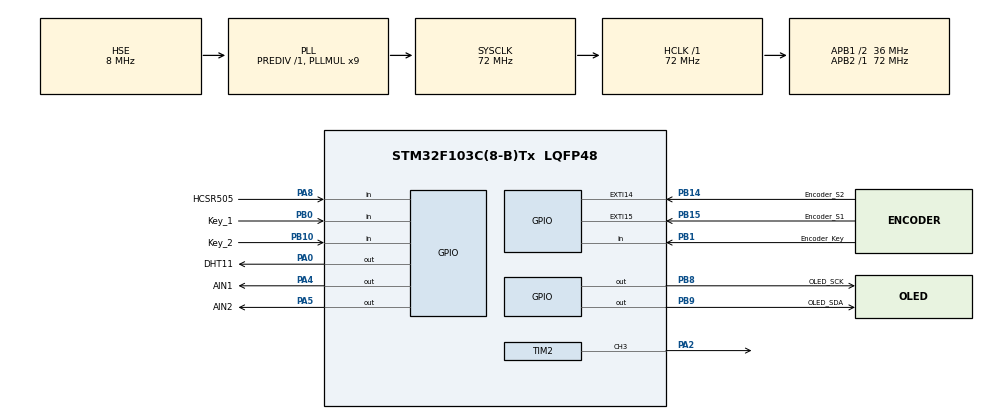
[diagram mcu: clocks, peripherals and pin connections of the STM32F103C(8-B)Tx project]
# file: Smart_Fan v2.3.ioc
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Mcu.Family=STM32F1
Mcu.Name=STM32F103C(8-B)Tx
Mcu.Package=LQFP48
NVIC.EXTI15_10_IRQn=true\:0\:0\:false\:false\:true\:true\:true\:true
NVIC.PriorityGroup=NVIC_PRIORITYGROUP_4
NVIC.TIM3_IRQn=true\:0\:0\:false\:false\:true\:true\:true\:true
PA0-WKUP.GPIO_Label=DHT11
PA0-WKUP.GPIO_Speed=GPIO_SPEED_FREQ_HIGH
PA0-WKUP.Signal=GPIO_Output
PA13.Mode=Serial_Wire
PA13.Signal=SYS_JTMS-SWDIO
PA14.Mode=Serial_Wire
PA14.Signal=SYS_JTCK-SWCLK
PA2.Signal=S_TIM2_CH3
PA4.GPIO_Label=AIN1
PA4.GPIO_Speed=GPIO_SPEED_FREQ_HIGH
PA4.Signal=GPIO_Output
PA5.GPIO_Label=AIN2
PA5.GPIO_Speed=GPIO_SPEED_FREQ_HIGH
PA5.Signal=GPIO_Output
PA8.GPIO_Label=HCSR505
PA8.GPIO_PuPd=GPIO_PULLDOWN
PA8.Signal=GPIO_Input
PB0.GPIO_Label=Key_1
PB0.GPIO_PuPd=GPIO_PULLUP
PB0.Signal=GPIO_Input
PB1.GPIO_Label=Encoder_Key
PB1.GPIO_PuPd=GPIO_PULLUP
PB1.Signal=GPIO_Input
PB10.GPIO_Label=Key_2
PB10.GPIO_PuPd=GPIO_PULLUP
PB10.Signal=GPIO_Input
PB14.GPIO_Label=Encoder_S2
PB14.GPIO_ModeDefaultEXTI=GPIO_MODE_IT_FALLING
PB14.GPIO_PuPd=GPIO_PULLUP
PB14.Signal=GPXTI14
PB15.GPIO_Label=Encoder_S1
PB15.GPIO_ModeDefaultEXTI=GPIO_MODE_IT_FALLING
PB15.GPIO_PuPd=GPIO_PULLUP
PB15.Signal=GPXTI15
PB8.GPIO_Label=OLED_SCK
PB8.GPIO_ModeDefaultOutputPP=GPIO_MODE_OUTPUT_OD
PB8.GPIO_PuPd=GPIO_NOPULL
PB8.GPIO_Speed=GPIO_SPEED_FREQ_HIGH
PB8.Signal=GPIO_Output
PB9.GPIO_Label=OLED_SDA
PB9.GPIO_ModeDefaultOutputPP=GPIO_MODE_OUTPUT_OD
PB9.GPIO_PuPd=GPIO_NOPULL
PB9.GPIO_Speed=GPIO_SPEED_FREQ_HIGH
PB9.Signal=GPIO_Output
PD0-OSC_IN.Mode=HSE-External-Oscillator
PD0-OSC_IN.Signal=RCC_OSC_IN
PD1-OSC_OUT.Mode=HSE-External-Oscillator
PD1-OSC_OUT.Signal=RCC_OSC_OUT
ProjectManager.HeapSize=0x200
ProjectManager.StackSize=0x400
ProjectManager.TargetToolchain=STM32CubeIDE
RCC.AHBFreq_Value=72000000
RCC.APB1CLKDivider=RCC_HCLK_DIV2
RCC.APB1Freq_Value=36000000
RCC.APB1TimFreq_Value=72000000
RCC.APB2Freq_Value=72000000
RCC.APB2TimFreq_Value=72000000
RCC.HCLKFreq_Value=72000000
RCC.PLLMUL=RCC_PLL_MUL9
RCC.PLLSourceVirtual=RCC_PLLSOURCE_HSE
RCC.SYSCLKFreq_VALUE=72000000
RCC.SYSCLKSource=RCC_SYSCLKSOURCE_PLLCLK
RCC.USBFreq_Value=72000000
SH.S_TIM2_CH3.0=TIM2_CH3,PWM Generation3 CH3
TIM2.Channel-PWM\ Generation3\ CH3=TIM_CHANNEL_3
TIM2.Period=99
TIM2.Prescaler=35
TIM3.Period=10000-1
TIM3.Prescaler=7200-1
VP_TIM2_VS_ClockSourceINT.Mode=Internal
VP_TIM3_VS_ClockSourceINT.Mode=Internal
board=custom

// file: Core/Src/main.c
/* USER CODE BEGIN Header */
/**
  ******************************************************************************
  * @file           : main.c
  * @brief          : Main program body
  ******************************************************************************
  * @attention
  *
  * Copyright (c) 2024 STMicroelectronics.
  * All rights reserved.
  *
  * This software is licensed under terms that can be found in the LICENSE file
  * in the root directory of this software component.
  * If no LICENSE file comes with this software, it is provided AS-IS.
  *
  ******************************************************************************
  */
/* USER CODE END Header */
#include "main.h"
#include "tim.h"
#include "gpio.h"

/* USER CODE BEGIN Includes */
#include "OLED.h"
#include "stm32f1xx_it.h"
#include "DHT11.h"
#include "Key.h"
/* USER CODE END Includes */

/* USER CODE BEGIN PTD */
DHT11_Data_TypeDef DHT11_Data;	//DHT11模块必须的结构体
/* USER CODE END PTD */

/* USER CODE BEGIN PV */
uint8_t KeyNum = 0;					//按键键码
uint16_t Menu = 0;					//菜单ID
uint8_t Pointer = 0;				//菜单指针
uint8_t Pointer_Max = 9;			//菜单指针最大值，即菜单中内容的行数，默认为9
int8_t Speed = 0;					//电机转速，范围0~100
uint8_t Encoder_Locked_Flag = 1;	//旋转编码器旋钮是否上锁，默认上锁
uint8_t HCSR505_Flag = 1;			//人体感应是否打开，默认打开
uint8_t Hour,Min,Sec;				//定时模式需要的时间变量

/* USER CODE END PV */

void SystemClock_Config(void);
/* USER CODE BEGIN PFP */
uint8_t HCSR505_Get(void);			//人体感应模块函数，有人返回0，无人返回0
void Menu_Key(void);				//菜单按键控制函数
void Menu_Show(void);				//菜单内容显示函数
void Menu_Pointer(void);			//菜单指针选中处反色
void Motor_SetSpeed(int8_t Speed);	//设定电机转速函数

/* USER CODE END PFP */

int main(void)
{

  /* MCU Configuration--------------------------------------------------------*/

  /* Reset of all peripherals, Initializes the Flash interface and the Systick. */
  HAL_Init();

  /* Configure the system clock */
  SystemClock_Config();

  /* Initialize all configured peripherals */
  MX_GPIO_Init();
  MX_TIM2_Init();
  MX_TIM3_Init();
  /* USER CODE BEGIN 2 */
  OLED_Init();									//OLED模块初始化
  HAL_TIM_PWM_Start(&htim2, TIM_CHANNEL_3);		//开启控制电机的PWM

  /* USER CODE END 2 */

  /* Infinite loop */
  /* USER CODE BEGIN WHILE */
  while (1)
  {
	  Menu_Key();		//菜单按键控制函数
	  Menu_Show();		//菜单内容显示函数
	  Menu_Pointer();	//菜单指针选中处反色
	  OLED_Update();	//OLED显示内容更新

    /* USER CODE END WHILE */

  }
}

void SystemClock_Config(void)
{
  RCC_OscInitTypeDef RCC_OscInitStruct = {0};
  RCC_ClkInitTypeDef RCC_ClkInitStruct = {0};

  /** Initializes the RCC Oscillators according to the specified parameters
  * in the RCC_OscInitTypeDef structure.
  */
  RCC_OscInitStruct.OscillatorType = RCC_OSCILLATORTYPE_HSE;
  RCC_OscInitStruct.HSEState = RCC_HSE_ON;
  RCC_OscInitStruct.HSEPredivValue = RCC_HSE_PREDIV_DIV1;
  RCC_OscInitStruct.HSIState = RCC_HSI_ON;
  RCC_OscInitStruct.PLL.PLLState = RCC_PLL_ON;
  RCC_OscInitStruct.PLL.PLLSource = RCC_PLLSOURCE_HSE;
  RCC_OscInitStruct.PLL.PLLMUL = RCC_PLL_MUL9;
  if (HAL_RCC_OscConfig(&RCC_OscInitStruct) != HAL_OK)
  {
    Error_Handler();
  }

  /** Initializes the CPU, AHB and APB buses clocks
  */
  RCC_ClkInitStruct.ClockType = RCC_CLOCKTYPE_HCLK|RCC_CLOCKTYPE_SYSCLK
                              |RCC_CLOCKTYPE_PCLK1|RCC_CLOCKTYPE_PCLK2;
  RCC_ClkInitStruct.SYSCLKSource = RCC_SYSCLKSOURCE_PLLCLK;
  RCC_ClkInitStruct.AHBCLKDivider = RCC_SYSCLK_DIV1;
  RCC_ClkInitStruct.APB1CLKDivider = RCC_HCLK_DIV2;
  RCC_ClkInitStruct.APB2CLKDivider = RCC_HCLK_DIV1;

  if (HAL_RCC_ClockConfig(&RCC_ClkInitStruct, FLASH_LATENCY_2) != HAL_OK)
  {
    Error_Handler();
  }
}

/* USER CODE BEGIN 4 */

/**
  * @brief	人体感应模块
  * @retval 感应到人返回1，未感应到返回0
  */
uint8_t HCSR505_Get(void)
{
	return HAL_GPIO_ReadPin(HCSR505_GPIO_Port, HCSR505_Pin);	//直接返回引脚状态即可
}

/**
  * @brief	菜单按键控制函数
  * @retval None
  */
void Menu_Key(void)
{
	KeyNum = Key_GetNum();	//获取按键键码

	//菜单指针移动键按下
	if(KeyNum == 1)
	{
		Pointer++;
		if(Pointer > Pointer_Max)
			Pointer = 0;
	}

	//确认键按下
	else if(KeyNum == 2)
	{
		//指针不在第一行
		if(Pointer > 0)
		{
			//进入定时模式，默认速度50
			if(Menu == 0 && Pointer == 1)
			{
				Speed = 50;
				Menu = Menu*10 + Pointer;
				Pointer = 0;
			}

			//进入手动模式，默认速度50
			else if(Menu == 0 && Pointer == 2)
			{
				Speed = 50;
				Motor_SetSpeed(Speed);
				Menu = Menu*10 + Pointer;
				Pointer = 0;
			}

			//定时模式下调整参数
			else if(Menu == 1)
			{
				//确认参数键按下
				if(Pointer == 5)
				{
					HAL_TIM_Base_Start_IT(&htim3);	//启动定时
					Motor_SetSpeed(Speed);			//设定转速
					Menu = Menu*10 + Pointer;		//菜单跳转
					Pointer = 0;					//指针默认在第一行，即选中返回键
				}
			}

			//开关人体感应功能
			else if(Menu == 3 && Pointer == 3)
			{
				if(HCSR505_Flag == 1)
					HCSR505_Flag = 0;
				else
					HCSR505_Flag = 1;
			}

			//其余情况，菜单正常跳转
			else if(Menu < 1000)
			{
				Menu = Menu*10 + Pointer;
				Pointer = 0;
			}
		}

		//指针在第一行，即返回键按下
		else if(Pointer == 0)
		{
			Menu = Menu / 10;				//返回上一级菜单
			Speed = 0;						//转速归零
			Motor_SetSpeed(Speed);
			Encoder_Locked_Flag = 1;		//默认上锁旋钮
			Hour = 0;Min = 0;Sec = 0;		//定时参数归零
			HAL_TIM_Base_Stop_IT(&htim3);	//关闭定时模式的定时器
		}
	}

	//旋转编码器按键按下
	else if(KeyNum == 3)
	{
		//仅在手动模式下生效
		if(Menu == 2)
		{
			//反转即可
			if(Encoder_Locked_Flag == 0)
			{
				Encoder_Locked_Flag = 1;
			}
			else if(Encoder_Locked_Flag == 1)
			{
				Encoder_Locked_Flag = 0;
			}
		}
	}
}

/**
  * @brief	菜单内容显示函数
  * @retval None
  */
void Menu_Show(void)
{
	//主菜单内容
	if(Menu == 0)
	{
		Pointer_Max = 3;

		OLED_Clear();
		OLED_ShowChinese(39,0,"主菜单");

		OLED_ShowChinese(0,16,"定时模式");
		OLED_ShowChinese(0,32,"手动模式");
		OLED_ShowChinese(0,48,"自动模式");
	}

	//定时模式调整参数
	else if(Menu == 1)
	{
		Pointer_Max = 5;
		OLED_Clear();
		OLED_ShowChinese(0,0,"返回");

		//调整小时
		if(Pointer == 1)
		{
			Hour += Encoder_Get();
			if(Hour > 60)
				Hour = 0;
		}
		//调整分钟
		else if(Pointer == 2)
		{
			Min += Encoder_Get();
			if(Min > 60)
				Min = 0;
		}
		//调整秒
		else if(Pointer == 3)
		{
			Sec += Encoder_Get();
			if(Sec > 60)
				Sec = 0;
		}
		//调整转速
		else if(Pointer == 4)
		{
			Speed += Encoder_Get();
			if(Speed <= 0)
			{
				Speed = 0;
			}
			if(Speed >= 100)
			{
				Speed=100;
			}
		}

		//内容显示
		if(Pointer <= 3)
		{
			OLED_ShowChinese(0,16,"设置小时：");
			OLED_ShowNum(80, 16, Hour, 2, OLED_8X16);

			OLED_ShowChinese(0,32,"设置分钟：");
			OLED_ShowNum(80, 32, Min, 2, OLED_8X16);

			OLED_ShowChinese(0,48,"设置秒：");
			OLED_ShowNum(80, 48, Sec, 2, OLED_8X16);
		}
		else
		{
			OLED_ShowChinese(0,16,"设置转速：");
			OLED_ShowNum(80, 16, Speed, 3, OLED_8X16);

			OLED_ShowChinese(0,32,"确定");
		}
	}

	//定时模式倒计时界面
	else if(Menu == 15)
	{
		Pointer_Max = 0;
		OLED_Clear();
		OLED_ShowChinese(0,0,"返回");

		OLED_ShowChinese(0,16,"剩余时间：");
		OLED_Printf(0,32,OLED_8X16,"%02d:%02d:%02d",Hour,Min,Sec);

		OLED_ShowChinese(0, 48, "转速：");
		OLED_Printf(48, 48, OLED_8X16, "%d",Speed);
	}

	//手动模式
	else if(Menu == 2)
	{
		Pointer_Max = 0;
		OLED_Clear();
		OLED_ShowChinese(0,0,"返回");

		if(Encoder_Locked_Flag == 0)
		{
			Speed += Encoder_Get();
			if(Speed <= 0)
			{
				Speed = 0;
			}
			if(Speed >= 100)
			{
				Speed=100;
			}
			Motor_SetSpeed(Speed);
			OLED_ShowChinese(0, 48, "旋钮可调");
		}
		else
		{
			OLED_ShowChinese(0, 48, "旋钮锁定");
		}

		OLED_ShowChinese(0, 32, "转速：");
		OLED_Printf(48, 32, OLED_8X16, "%d",Speed);
	}

	//自动模式选择温度或湿度控制，开关人体感应功能
	else if(Menu == 3)
	{
		Pointer_Max = 3;
		OLED_Clear();
		OLED_ShowChinese(0,0,"返回");

		OLED_ShowChinese(0, 16, "温度控制");
		OLED_ShowChinese(0, 32, "湿度控制");

		if(HCSR505_Flag == 1)
			OLED_ShowChinese(0, 48, "人体感应：开");
		else
			OLED_ShowChinese(0, 48, "人体感应：关");
	}

	//自动模式温度控制
	else if(Menu == 31)
	{
		Pointer_Max = 0;
		OLED_Clear();
		OLED_ShowChinese(0,0,"返回");

		//DHT11读取数据成功
		if(DHT11_Read(&DHT11_Data) == HAL_OK)
		{
			//人体感应功能为开
			if(HCSR505_Flag == 1)
			{
				//人体感应模块感应到人
				if(HCSR505_Get() == 1)
				{
					//温度大于15摄氏度，才设定对应转速
					if(DHT11_Data.temp_int > 15)
					{
						Speed = DHT11_Data.temp_int * 3 - 12;
						if(Speed > 100)
						{
							Speed = 100;
						}
						OLED_ShowChinese(0, 16, "周围有人");
					}
					//温度过低
					else
					{
						Speed = 0;
						OLED_ShowChinese(0, 16, "温度过低");
					}
				}
				//人体感应模块未感应到人
				else
				{
					Speed = 0;
				}
			}

			//人体感应功能为关
			else
			{
				//温度大于15摄氏度，才设定对应转速
				if(DHT11_Data.temp_int > 15)
				{
					Speed = DHT11_Data.temp_int * 3 - 12;
					if(Speed > 100)
					{
						Speed = 100;
					}
				}
				//温度过低
				else
				{
					Speed = 0;
					OLED_ShowChinese(0, 16, "温度过低");
				}
			}

			Motor_SetSpeed(Speed);
			OLED_ShowChinese(0, 32, "温度：");
			OLED_Printf(48, 32, OLED_8X16, "%d.%d", DHT11_Data.temp_int, DHT11_Data.temp_deci);
		}

		OLED_ShowChinese(0, 48, "转速：");
		OLED_Printf(48, 48, OLED_8X16, "%d",Speed);
	}

	//自动模式湿度控制
	else if(Menu == 32)
	{
		Pointer_Max = 0;
		OLED_Clear();
		OLED_ShowChinese(0,0,"返回");

		//DHT11读取数据成功
		if(DHT11_Read(&DHT11_Data) == HAL_OK)
		{
			//人体感应功能为开
			if(HCSR505_Flag == 1)
			{
				//人体感应模块感应到人
				if(HCSR505_Get() == 1)
				{
					//湿度大于20才设定对应转速
					if(DHT11_Data.humi_int > 20)
					{
						Speed = DHT11_Data.humi_int * 1.5 - 1;
						if(Speed > 100)
						{
							Speed = 100;
						}
						OLED_ShowChinese(0, 16, "周围有人");
					}
					//湿度过低
					else
					{
						Speed = 0;
						OLED_ShowChinese(0, 16, "湿度过低");
					}
				}
				//人体感应模块未感应到人
				else
				{
					Speed = 0;
				}
			}

			//人体感应功能为关
			else
			{
				//湿度大于20才设定对应转速
				if(DHT11_Data.humi_int > 20)
				{
					Speed = DHT11_Data.humi_int * 1.5 - 1;
					if(Speed > 100)
					{
						Speed = 100;
					}
				}
				//湿度过低
				else
				{
					Speed = 0;
					OLED_ShowChinese(0, 16, "湿度过低");
				}
			}

			Motor_SetSpeed(Speed);
			OLED_ShowChinese(0, 32, "湿度：");
			OLED_Printf(48, 32, OLED_8X16, "%d.%d", DHT11_Data.humi_int, DHT11_Data.humi_deci);
		}

		OLED_ShowChinese(0, 48, "转速：");
		OLED_Printf(48, 48, OLED_8X16, "%d",Speed);
	}

	/*else if*/
	//...

	/*未定义菜单的显示内容*/
	else
	{
		Pointer_Max = 0;
		OLED_Clear();
		OLED_ShowChinese(0,0,"返回");
		OLED_Printf(32,0,OLED_8X16,"(Menu:%5d)",Menu);
		OLED_Printf(0,16,OLED_8X16,"undefined");
	}
}

/**
  * @brief	菜单指针选中区域反色
  * @retval None
  */
void Menu_Pointer(void)
{
	//“主菜单”三个字不反色
	if(Pointer == 0)
	{
		if(Menu != 0)
		{
			OLED_ReverseArea(0,0,128,16);
		}
	}
	else if(Pointer==1 || Pointer==4 || Pointer==7)
	{
		OLED_ReverseArea(0,16,128,16);
	}
	else if(Pointer==2 || Pointer==5 || Pointer==8)
	{
		OLED_ReverseArea(0,32,128,16);
	}
	else if(Pointer==3 || Pointer==6 || Pointer==9)
	{
		OLED_ReverseArea(0,48,128,16);
	}

}

/**
  * @brief	设定电机转速
  * @retval None
  */
void Motor_SetSpeed(int8_t Speed)
{
	if(Speed >= 0)
	{

		HAL_GPIO_WritePin(AIN2_GPIO_Port, AIN2_Pin, GPIO_PIN_SET);
		HAL_GPIO_WritePin(AIN1_GPIO_Port, AIN1_Pin, GPIO_PIN_RESET);

		__HAL_TIM_SET_COMPARE(&htim2, TIM_CHANNEL_3, Speed);
	}

	else
	{
		HAL_GPIO_WritePin(AIN2_GPIO_Port, AIN2_Pin, GPIO_PIN_RESET);
		HAL_GPIO_WritePin(AIN1_GPIO_Port, AIN1_Pin, GPIO_PIN_SET);

		__HAL_TIM_SET_COMPARE(&htim2, TIM_CHANNEL_3, -Speed);
	}
}

/**
  * @brief	定时模式定时器中断函数
  * @retval None
  */
void HAL_TIM_PeriodElapsedCallback(TIM_HandleTypeDef *htim)
{
	if(htim == &htim3)
	{
		//判断倒计时是否结束
		if(Hour==0 && Min==0 && Sec==0)
		{
			HAL_TIM_Base_Stop_IT(&htim3);	//关闭定时器
			Speed = 0;						//转速归零
			Motor_SetSpeed(Speed);
		}

		//未结束
		else
		{
			Sec--;
			if(Sec >= 60)
			{
				Min--;
				Sec = 59;
			}
			if(Min >= 60)
			{
				Hour--;
				Min = 59;
			}
		}
	}
}

/* USER CODE END 4 */

void Error_Handler(void)
{
  __disable_irq();
  while (1)
  {
  }
}
